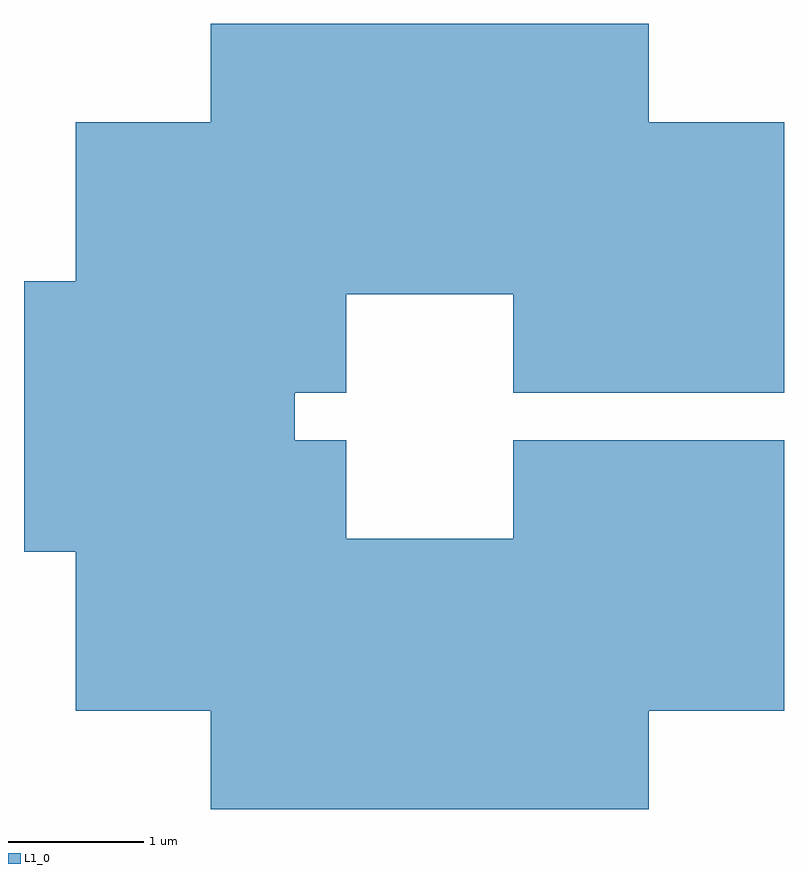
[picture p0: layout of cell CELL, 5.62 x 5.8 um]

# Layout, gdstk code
import gdstk
lib = gdstk.Library(unit=1e-6, precision=1e-09)
def R(c, l, rs):  # rectangles x0, y0, x1, y1
    for r in rs: c.add(gdstk.rectangle(r[:2], r[2:], *l))
L1_0 = (1, 0)

cell = lib.new_cell('CELL')
R(cell, L1_0, [(-1.618,-2.902,0.382,-0.902), (-0.382,-2.902,1.618,-0.902), (-2.618,-2.176,-0.618,-0.176), (0.618,-2.176,2.618,-0.176), (-3,-1,-1,1), (-2.618,0.176,-0.618,2.176), (0.618,0.176,2.618,2.176), (-1.618,0.902,0.382,2.902), (-0.382,0.902,1.618,2.902)])

lib.write_gds('CELL.gds')
